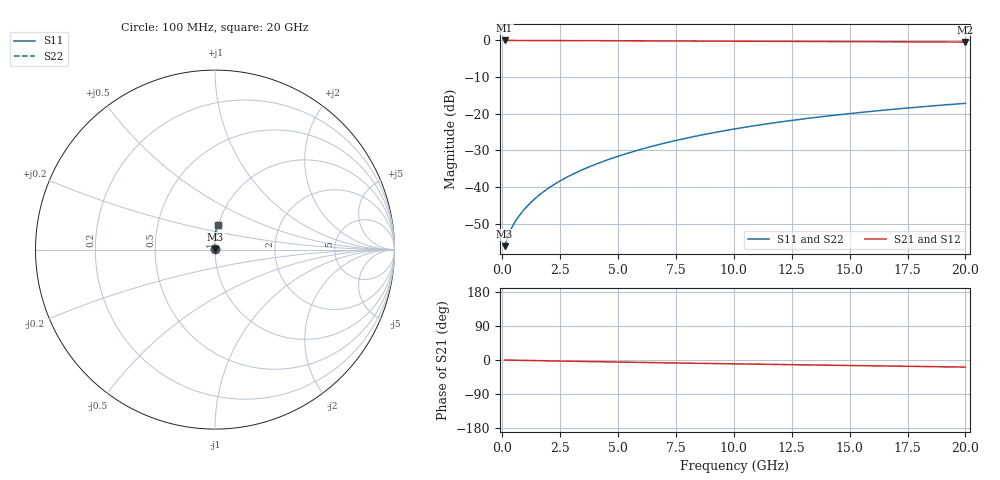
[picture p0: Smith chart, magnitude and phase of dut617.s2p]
! Touchstone file exported from HFSS 2024.1.0
!  File:  C:/UserFiles/LocalFiles/RDL_TSV_Batchsim/temp_RDL_top_617_1779780074.aedt
!  Generated:  03:23:20 PM May 26, 2026
!  Design:  RDL_top
!  Project:  temp_RDL_top_617_1779780074
!  Setup:  Setup1
!  Solution:  Sweep
! Variables:
!  dtsv = 10.80580581um
!  hbump = 3um
!  htsv = 98um
!  ldown = 100um
!  lrdl = 293.22um
!  p = 40
!  p1 = 40.61um
!  rhole = 1um
!  t = 450um
!  tdown = 3.915915916um
!  trdl = 3.32um
!  wdown = 15.38538539um
!  wrdl = 27.21um
# GHz S MA R 50.000000
! Terminal data exported
! Port[1] = Box2_T1
! Port[2] = Box2_T2
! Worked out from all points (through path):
!   200 points, 100 MHz to 20 GHz, reference 50 ohm
!   highest |S21| = -0.01 dB at 100 MHz (marker M1); lowest = -0.4 dB at 20 GHz (marker M2)
!   group delay of S21, straight-line fit = 2.56 ps
!   lowest |S11| = -56.1 dB at 100 MHz (marker M3), VSWR 1.00, Z = 50.1 + j0.0632 ohm
!   |S11| at or under -10 dB: start of sweep to end of sweep
!   |S22| runs from -56.1 to -17.2 dB; largest |S21 - S12| = 2.4e-15
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0.1  0.001558 23.9  0.9986 -0.1  0.9986 -0.1  0.001558 23.9
! Gamma 0 0 0 0
! Port Impedance 50 0 50 0
0.2  0.001941 38.1  0.9984 -0.2  0.9984 -0.2  0.001941 38.1
0.3  0.002355 46.3  0.9983 -0.4  0.9983 -0.4  0.002355 46.3
0.4  0.002755 51.8  0.9982 -0.5  0.9982 -0.5  0.002755 51.8
0.5  0.003146 56.2  0.9981 -0.6  0.9981 -0.6  0.003146 56.2
0.8  0.00433 65.8  0.9978 -0.9  0.9978 -0.9  0.00433 65.8
1  0.005155 70.4  0.9976 -1.1  0.9976 -1.1  0.005155 70.4
1.2  0.00601 74.0  0.9974 -1.4  0.9974 -1.4  0.00601 74.0
1.7  0.008258 80.3  0.9968 -1.9  0.9968 -1.9  0.008258 80.3
2.2  0.01064 84.4  0.9961 -2.5  0.9961 -2.5  0.01064 84.5
2.8  0.01366 87.9  0.9949 -3.1  0.9949 -3.1  0.01366 87.9
3.5  0.01742 90.7  0.9934 -3.9  0.9934 -3.9  0.01742 90.7
4.2  0.02142 92.6  0.9916 -4.6  0.9916 -4.6  0.02142 92.6
5  0.02628 94.0  0.9894 -5.4  0.9894 -5.4  0.02629 94.0
5.9  0.03209 94.8  0.9867 -6.3  0.9867 -6.3  0.0321 94.9
6.8  0.03822 95.1  0.984 -7.2  0.984 -7.2  0.03822 95.2
8.4  0.0497 94.7  0.9791 -8.7  0.9791 -8.7  0.04971 94.8
10.1  0.06247 93.5  0.974 -10.3  0.974 -10.3  0.06248 93.5
11.7  0.07478 91.9  0.9695 -11.7  0.9695 -11.7  0.0748 92.0
13.4  0.08798 90.1  0.9651 -13.2  0.9651 -13.2  0.088 90.1
16.7  0.1135 86.2  0.9571 -16.0  0.9571 -16.0  0.1135 86.2
20  0.1386 82.3  0.9498 -18.7  0.9498 -18.7  0.1386 82.3
